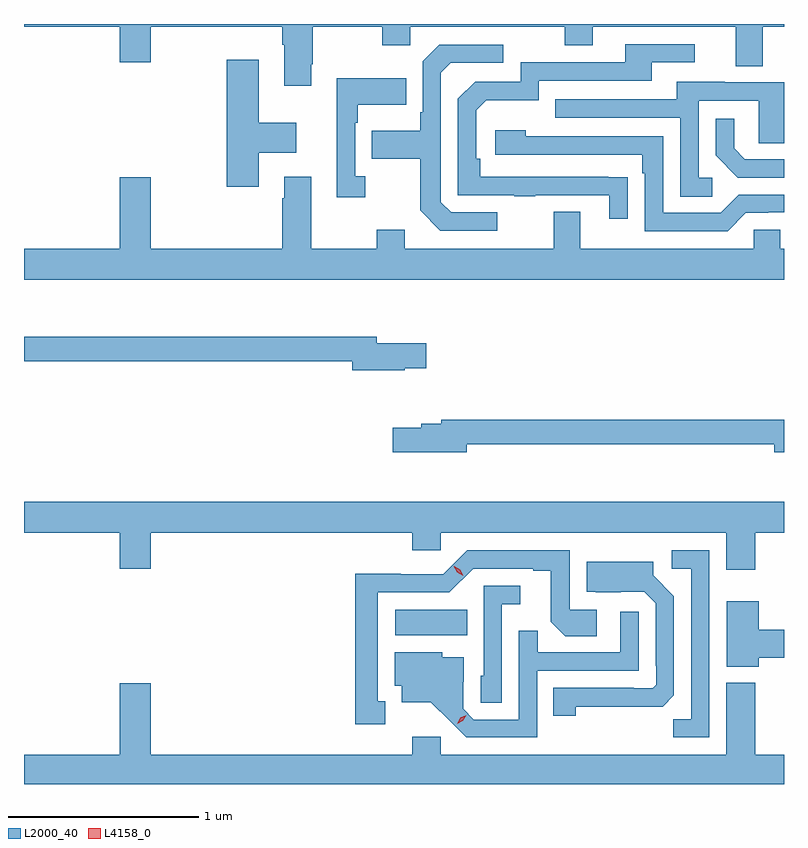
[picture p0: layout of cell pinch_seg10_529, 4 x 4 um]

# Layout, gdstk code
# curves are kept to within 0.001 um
import gdstk
lib = gdstk.Library(unit=1e-6, precision=1e-09)
def R(c, l, rs):  # rectangles x0, y0, x1, y1
    for r in rs: c.add(gdstk.rectangle(r[:2], r[2:], *l))
def P(c, l, *ps):  # polygons
    for p in ps: c.add(gdstk.Polygon(p, *l))
L2000_40 = (2000, 40)
L4158_0 = (4158, 0)

pinch_seg10_529 = lib.new_cell('pinch_seg10_529')
R(pinch_seg10_529, L2000_40, [(334.29,1282.46,334.67,1282.594)])
P(pinch_seg10_529, L2000_40, [(333.847,1285.465),(333.855,1285.465),(333.855,1285.664),(334.222,1285.664),(334.222,1285.565),(334.368,1285.565),(334.368,1285.664),(335.182,1285.664),(335.182,1285.565),(335.329,1285.565),(335.329,1285.664),(336.083,1285.664),(336.083,1285.456),(336.223,1285.456),(336.223,1285.664),(336.336,1285.664),(336.336,1285.678),(332.336,1285.678),(332.336,1285.664),(332.84,1285.664),(332.84,1285.476),(333.004,1285.476),(333.004,1285.664),(333.695,1285.664),(333.695,1285.568),(333.707,1285.568),(333.707,1285.353),(333.847,1285.353)],
  [(335.513,1284.872),(334.736,1284.873),(334.736,1284.97),(334.716,1284.97),(334.716,1285.224),(334.769,1285.277),(335.046,1285.277),(335.046,1285.38),(335.641,1285.38),(335.641,1285.476),(335.866,1285.476),(335.866,1285.572),(335.501,1285.572),(335.501,1285.476),(334.95,1285.476),(334.95,1285.374),(334.71,1285.374),(334.62,1285.284),(334.62,1284.777),(334.915,1284.777),(334.915,1284.772),(335.027,1284.772),(335.027,1284.777),(335.417,1284.777),(335.417,1284.654),(335.513,1284.654)],
  [(334.828,1284.687),(334.584,1284.687),(334.53,1284.741),(334.53,1285.422),(334.581,1285.473),(334.858,1285.473),(334.858,1285.569),(334.521,1285.569),(334.434,1285.482),(334.434,1285.213),(334.422,1285.213),(334.422,1285.117),(334.165,1285.117),(334.165,1284.97),(334.422,1284.97),(334.422,1284.697),(334.527,1284.591),(334.828,1284.591)],
  [(333.571,1285.001),(333.769,1285.001),(333.769,1285.159),(333.571,1285.159),(333.571,1285.489),(333.404,1285.489),(333.404,1284.822),(333.571,1284.822)],
  [(334.132,1284.878),(334.08,1284.878),(334.08,1285.157),(334.093,1285.157),(334.093,1285.253),(334.349,1285.253),(334.349,1285.393),(333.983,1285.393),(333.983,1284.765),(334.132,1284.765)],
  [(335.959,1284.87),(335.886,1284.87),(335.886,1285.275),(336.204,1285.275),(336.204,1285.051),(336.336,1285.051),(336.336,1285.371),(336.025,1285.371),(336.025,1285.375),(335.771,1285.375),(335.771,1285.281),(335.131,1285.281),(335.131,1285.185),(335.79,1285.185),(335.79,1284.769),(335.959,1284.769)],
  [(336.336,1284.966),(336.13,1284.966),(336.073,1285.023),(336.073,1285.18),(335.976,1285.18),(335.976,1284.986),(336.092,1284.87),(336.336,1284.87)],
  [(336.135,1284.684),(336.254,1284.684),(336.254,1284.687),(336.336,1284.687),(336.336,1284.78),(336.099,1284.78),(336.003,1284.684),(335.7,1284.684),(335.7,1285.086),(334.976,1285.086),(334.976,1285.12),(334.815,1285.12),(334.815,1284.99),(335.591,1284.99),(335.591,1284.893),(335.604,1284.893),(335.604,1284.588),(336.039,1284.588)],
  [(336.336,1284.496),(336.315,1284.496),(336.315,1284.594),(336.177,1284.594),(336.177,1284.496),(335.263,1284.496),(335.263,1284.691),(335.123,1284.691),(335.123,1284.496),(334.339,1284.496),(334.339,1284.595),(334.192,1284.595),(334.192,1284.496),(333.847,1284.496),(333.847,1284.874),(333.707,1284.874),(333.707,1284.761),(333.695,1284.761),(333.695,1284.496),(333.004,1284.496),(333.004,1284.871),(332.84,1284.871),(332.84,1284.496),(332.336,1284.496),(332.336,1284.332),(336.336,1284.332)],
  [(334.34,1283.867),(334.453,1283.867),(334.453,1283.997),(334.192,1283.997),(334.192,1284.031),(332.336,1284.031),(332.336,1283.902),(334.064,1283.902),(334.064,1283.855),(334.34,1283.855)],
  [(334.666,1283.466),(336.284,1283.466),(336.284,1283.423),(336.336,1283.423),(336.336,1283.594),(334.531,1283.594),(334.531,1283.575),(334.427,1283.575),(334.427,1283.553),(334.278,1283.553),(334.278,1283.423),(334.666,1283.423)],
  [(336.185,1283),(336.336,1283),(336.336,1283.164),(332.336,1283.164),(332.336,1283),(332.84,1283),(332.84,1282.812),(333.004,1282.812),(333.004,1283),(334.379,1283),(334.379,1282.907),(334.53,1282.907),(334.53,1283),(336.032,1283),(336.032,1282.806),(336.185,1282.806)],
  [(334.237,1282.113),(334.198,1282.113),(334.198,1282.686),(334.575,1282.686),(334.701,1282.812),(335.015,1282.812),(335.015,1282.8),(335.109,1282.8),(335.109,1282.532),(335.185,1282.456),(335.35,1282.456),(335.35,1282.596),(335.208,1282.596),(335.208,1282.908),(334.668,1282.908),(334.542,1282.782),(334.32,1282.782),(334.32,1282.784),(334.08,1282.784),(334.08,1281.993),(334.237,1281.993)],
  [(335.943,1282.908),(335.745,1282.908),(335.745,1282.812),(335.847,1282.812),(335.847,1282.019),(335.752,1282.019),(335.752,1281.924),(335.943,1281.924)],
  [(335.241,1282.084),(335.698,1282.085),(335.757,1282.144),(335.757,1282.666),(335.647,1282.776),(335.647,1282.849),(335.297,1282.849),(335.297,1282.691),(335.341,1282.691),(335.344,1282.688),(335.601,1282.689),(335.661,1282.629),(335.661,1282.3),(335.664,1282.3),(335.664,1282.2),(335.646,1282.182),(335.546,1282.182),(335.546,1282.185),(335.122,1282.185),(335.122,1282.038),(335.241,1282.038)],
  [(334.851,1282.625),(334.948,1282.625),(334.948,1282.722),(334.755,1282.722),(334.755,1282.248),(334.74,1282.248),(334.74,1282.105),(334.851,1282.105)],
  [(336.202,1282.343),(336.336,1282.343),(336.336,1282.49),(336.202,1282.49),(336.202,1282.639),(336.035,1282.639),(336.035,1282.295),(336.202,1282.295)],
  [(335.037,1282.275),(335.571,1282.275),(335.571,1282.585),(335.475,1282.585),(335.475,1282.371),(335.039,1282.371),(335.039,1282.484),(334.941,1282.484),(334.941,1282.017),(334.704,1282.017),(334.647,1282.074),(334.647,1282.216),(334.651,1282.216),(334.651,1282.345),(334.536,1282.345),(334.536,1282.372),(334.286,1282.372),(334.286,1282.196),(334.325,1282.196),(334.325,1282.109),(334.477,1282.109),(334.664,1281.924),(335.037,1281.924)],
  [(336.336,1281.832),(336.185,1281.832),(336.185,1282.21),(336.032,1282.21),(336.032,1281.832),(334.53,1281.832),(334.53,1281.928),(334.379,1281.928),(334.379,1281.832),(333.004,1281.832),(333.004,1282.207),(332.84,1282.207),(332.84,1281.832),(332.336,1281.832),(332.336,1281.678),(336.336,1281.678)])
P(pinch_seg10_529, L4158_0, [(334.615,1281.996),(334.615,1281.996),(334.632,1282.026),(334.663,1282.041),(334.663,1282.041),(334.663,1282.041),(334.646,1282.011),(334.616,1281.996)],
  [(334.648,1282.773),(334.616,1282.792),(334.599,1282.824),(334.599,1282.825),(334.6,1282.825),(334.631,1282.806),(334.648,1282.773),(334.648,1282.773)])

lib.write_gds('pinch_seg10_529.gds')
